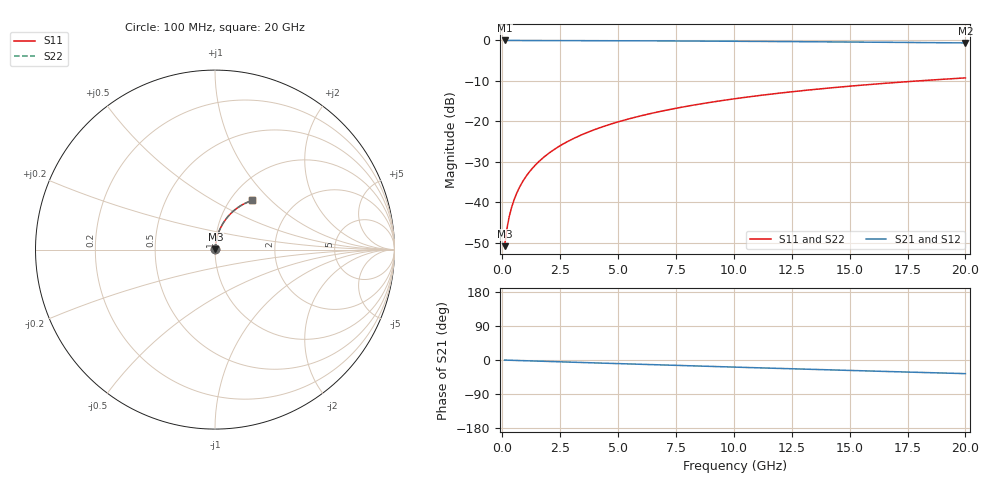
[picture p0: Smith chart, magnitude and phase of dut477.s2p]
! Touchstone file exported from HFSS 2026.1.0
!  File:  C:/ffzhzh/LocalFiles/Ansys_Project_Files/temp_train_TMRDL_477_1783006330_53980.aedt
!  Generated:  11:33:40 PM Jul  2, 2026
!  Design:  TMRDL
!  Project:  temp_train_TMRDL_477_1783006330_53980
! Variables:
!  h_bsmrdl = 2um
!  h_ox = 20um
!  h_rdl = 5um
!  h_sub = 80um
!  h_tmrdl = 4.03um
!  h_tsv = 80um
!  h_via = 3um
!  l_bsmrdl = 300um
!  l_sub = 896.58um
!  l_tmrdl = 496.58um
!  m_sub = 200um
!  pitch = 58.52um
!  r_tsv = 6um
!  s_tmrdl = 10um
!  w_bsmrdl = 18um
!  w_sub = 500um
!  w_tmrdl = 26.37um
!  x_tsv_center1 = 509.765um
!  x_tsv_center2 = 827.765um
!  x_tsv_center3 = 1350.715um
!  x_tsv_center4 = 1668.715um
!  x_tsv_center5 = 2191.665um
!  x_tsv_center6 = 2509.665um
# GHz S MA R 50.000000
! Terminal data exported
! Port[1] = TM_RDL1_1_T1
! Port[2] = TM_RDL1_1_T2
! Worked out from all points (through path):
!   200 points, 100 MHz to 20 GHz, reference 50 ohm
!   highest |S21| = -0.02 dB at 100 MHz (marker M1); lowest = -0.6 dB at 20 GHz (marker M2)
!   group delay of S21, straight-line fit = 5 ps
!   lowest |S11| = -50.8 dB at 100 MHz (marker M3), VSWR 1.01, Z = 50.2 + j0.218 ohm
!   |S11| at or under -10 dB: start of sweep to 17.98 GHz
!   |S22| runs from -50.8 to -9.3 dB; largest |S21 - S12| = 6.1e-15
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0.1  0.00287 49.2  0.9981 -0.2  0.9981 -0.2  0.00287 49.2
! Gamma 0 0 0 0
! Port Impedance 50 0 50 0
0.2  0.004723 64.7  0.998 -0.4  0.998 -0.4  0.004723 64.7
0.3  0.006662 71.0  0.9979 -0.6  0.9979 -0.6  0.006662 71.0
0.4  0.008604 74.4  0.9978 -0.8  0.9978 -0.8  0.008604 74.4
0.5  0.01055 76.6  0.9977 -1.0  0.9977 -1.0  0.01055 76.6
0.7  0.01446 79.3  0.9976 -1.4  0.9976 -1.4  0.01446 79.3
0.8  0.01642 80.1  0.9975 -1.6  0.9975 -1.6  0.01642 80.1
1  0.02037 81.2  0.9974 -1.9  0.9974 -1.9  0.02037 81.2
1.2  0.02432 81.8  0.9972 -2.3  0.9972 -2.3  0.02432 81.8
1.4  0.02828 82.1  0.9971 -2.7  0.9971 -2.7  0.02828 82.1
1.7  0.03423 82.3  0.9968 -3.3  0.9968 -3.3  0.03423 82.3
2  0.04017 82.2  0.9965 -3.9  0.9965 -3.9  0.04017 82.2
2.7  0.05397 81.6  0.9956 -5.2  0.9956 -5.2  0.05397 81.6
3.5  0.0696 80.5  0.9942 -6.7  0.9942 -6.7  0.0696 80.5
4.2  0.08315 79.4  0.9928 -8.0  0.9928 -8.0  0.08315 79.4
5  0.09845 78.1  0.991 -9.5  0.991 -9.5  0.09845 78.1
6.8  0.1321 75.0  0.9863 -12.9  0.9863 -12.9  0.1321 75.0
8.3  0.1595 72.4  0.9817 -15.6  0.9817 -15.6  0.1595 72.4
10.1  0.1912 69.2  0.9754 -18.9  0.9754 -18.9  0.1912 69.3
13.4  0.2466 63.6  0.9621 -24.8  0.9621 -24.8  0.2466 63.6
16.7  0.2976 58.1  0.9471 -30.5  0.9471 -30.5  0.2976 58.1
20  0.3441 52.7  0.9309 -36.0  0.9309 -36.0  0.3441 52.7
